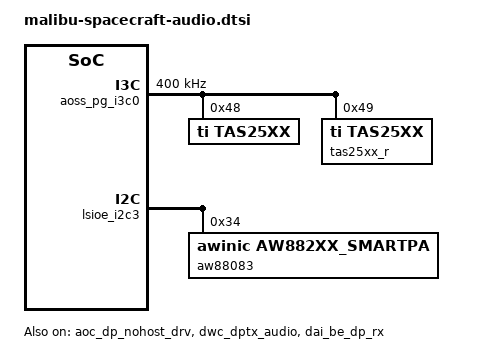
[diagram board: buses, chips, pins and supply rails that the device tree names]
// SPDX-License-Identifier: GPL-2.0-only
/*
 * spacecraft audio device tree source
 *
 * Copyright 2025 Google LLC
 */

 &aoc {
	aoc-board-cfg = "SC";
	aoc-board-id = <0x80101>;
	aoc-board-rev = <0x10000>;
};

/* DP audio */
&aoc_dp_nohost_drv {
	status = "ok";
};

/* DP audio */
&dai_fe_dp_dma_nohost_rx {
	status = "ok";
};

/* DP audio */
&dwc_dptx_audio {
	status = "ok";
};

/* DP audio */
&dai_be_dp_rx {
	status = "ok";
	codec {
		sound-dai = <&dwc_dptx_audio>;
	};
};

&dai_be_tdm0_rx {
	codec {
		sound-dai = <&tas25xx>, <&aw88083>;
	};
};

&dai_be_tdm0_tx {
	codec {
		sound-dai = <&tas25xx>, <&aw88083>;
	};
};

&aoc_snd_card {
	clks {
		sys {
			sys@tas25xx {
				comp = <&tas25xx>;
				src = "BCLK";
				/* clk id */
				id = <0>;
				/* clk source */
				srcid = <0>;
				/* in clk multiple */
				in_mul = <1>;
				/* out clk multiple */
				out_mul = <1>;
			};
		};
	};
};

&aoss_pg_i3c0 {
	#address-cells = <1>;
	#size-cells = <0>;

	status = "ok";
	clock-frequency = <400000>;

	tas25xx:tas25xx@48 {
		#sound-dai-cells = <0>;
		compatible = "ti,tas25xx";
		reg = <0x48 0x0 0x40>;

		pinctrl-names = "default", "sleep";
		pinctrl-0 = <&ap2amp_reset_l_1v2 &amp2aoss_irq_od_l_1v2>;
		pinctrl-1 = <&ap2amp_reset_l_1v2_sleep &amp2aoss_irq_od_l_1v2_sleep>;
		ti,max-channels = <2>;
		ti,channel-0 = <0x48>;
		ti,channel-1 = <0x49>;
		ti,reset-gpio = <AP2AMP_RESET_L_1V2(GPIO_ACTIVE_HIGH)>;
		ti,irq-gpio = <AMP2AOSS_IRQ_OD_L_1V2(GPIO_ACTIVE_LOW)>;
		ti,irqz-value = <0x60>;
		status = "ok";
	};

	tas25xx_r:tas25xx_r@49 {
		#sound-dai-cells = <0>;
		compatible = "ti,tas25xx";
		reg = <0x49 0x0 0x40>;

		ti,max-channels = <0>;
		status = "ok";
	};

};

&lsioe_i2c3 {
	#address-cells = <1>;
	#size-cells = <0>;

	status = "okay";

	aw88083:aw88083@34 {
		#sound-dai-cells = <0>;
		compatible = "awinic,aw882xx_smartpa";
		reg = <0x34>;

		pinctrl-names = "default";
		pinctrl-0 = <&pmics2hac_amp_en>;

		reset-gpio = <PMICS2HAC_AMP_EN(GPIO_ACTIVE_HIGH)>;
		sync-load = <1>;
		aw-re-min = <4000>;
		aw-re-max = <30000>;
		aw-cali-mode = "none";
		status = "okay";
	};
};
